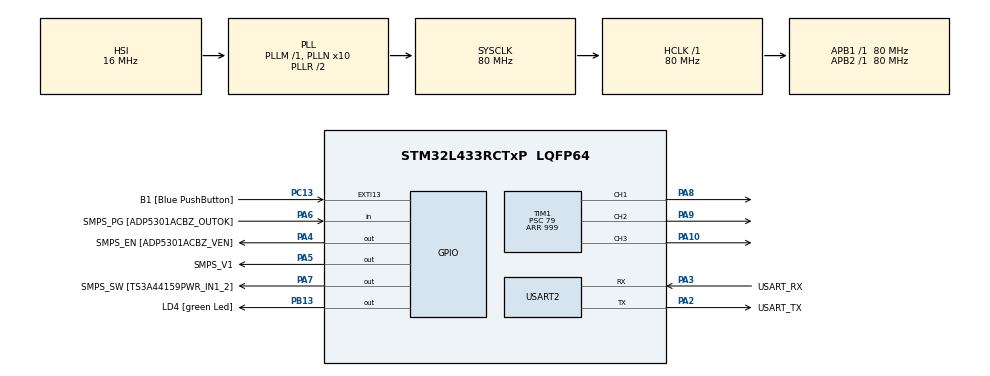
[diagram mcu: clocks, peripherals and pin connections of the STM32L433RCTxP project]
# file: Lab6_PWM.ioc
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Mcu.Family=STM32L4
Mcu.Name=STM32L433RCTxP
Mcu.Package=LQFP64
NVIC.PriorityGroup=NVIC_PRIORITYGROUP_4
NVIC.TIM1_UP_TIM16_IRQn=true\:0\:0\:false\:false\:true\:true\:true\:true
NVIC.TIM6_DAC_IRQn=true\:0\:0\:false\:false\:true\:true\:true\:true
PA10.Signal=S_TIM1_CH3
PA13\ (JTMS-SWDIO).GPIO_Label=TMS
PA13\ (JTMS-SWDIO).Mode=Serial_Wire
PA13\ (JTMS-SWDIO).Signal=SYS_JTMS-SWDIO
PA14\ (JTCK-SWCLK).GPIO_Label=TCK
PA14\ (JTCK-SWCLK).Mode=Serial_Wire
PA14\ (JTCK-SWCLK).Signal=SYS_JTCK-SWCLK
PA2.GPIO_Label=USART_TX
PA2.GPIO_Mode=GPIO_MODE_AF_PP
PA2.GPIO_PuPd=GPIO_NOPULL
PA2.GPIO_Speed=GPIO_SPEED_FREQ_VERY_HIGH
PA2.Mode=Asynchronous
PA2.Signal=USART2_TX
PA3.GPIO_Label=USART_RX
PA3.GPIO_Mode=GPIO_MODE_AF_PP
PA3.GPIO_PuPd=GPIO_NOPULL
PA3.GPIO_Speed=GPIO_SPEED_FREQ_VERY_HIGH
PA3.Mode=Asynchronous
PA3.Signal=USART2_RX
PA4.GPIO_Label=SMPS_EN [ADP5301ACBZ_VEN]
PA4.Signal=GPIO_Output
PA5.GPIO_Label=SMPS_V1
PA5.GPIO_ModeDefaultOutputPP=GPIO_MODE_OUTPUT_PP
PA5.GPIO_PuPd=GPIO_NOPULL
PA5.GPIO_Speed=GPIO_SPEED_FREQ_LOW
PA5.Signal=GPIO_Output
PA6.GPIO_Label=SMPS_PG [ADP5301ACBZ_OUTOK]
PA6.GPIO_PuPd=GPIO_PULLUP
PA6.Signal=GPIO_Input
PA7.GPIO_Label=SMPS_SW [TS3A44159PWR_IN1_2]
PA7.Signal=GPIO_Output
PA8.Signal=S_TIM1_CH1
PA9.Signal=S_TIM1_CH2
PB13.GPIO_Label=LD4 [green Led]
PB13.Signal=GPIO_Output
PB3\ (JTDO-TRACESWO).GPIO_Label=SWO
PB3\ (JTDO-TRACESWO).Signal=SYS_JTDO-SWO
PC13.GPIO_Label=B1 [Blue PushButton]
PC13.GPIO_ModeDefaultEXTI=GPIO_MODE_IT_FALLING
PC13.GPIO_PuPd=GPIO_NOPULL
PC13.Signal=GPXTI13
PC14-OSC32_IN\ (PC14).Mode=LSE-External-Oscillator
PC14-OSC32_IN\ (PC14).Signal=RCC_OSC32_IN
PC15-OSC32_OUT\ (PC15).Mode=LSE-External-Oscillator
PC15-OSC32_OUT\ (PC15).Signal=RCC_OSC32_OUT
PH0-OSC_IN\ (PH0).GPIO_Label=MCO
PH0-OSC_IN\ (PH0).Mode=HSE-External-Clock-Source
PH0-OSC_IN\ (PH0).Signal=RCC_OSC_IN
PH1-OSC_OUT\ (PH1).Signal=RCC_OSC_OUT
ProjectManager.HeapSize=0x200
ProjectManager.StackSize=0x400
ProjectManager.TargetToolchain=STM32CubeIDE
RCC.ADCFreq_Value=64000000
RCC.AHBFreq_Value=80000000
RCC.APB1Freq_Value=80000000
RCC.APB1TimFreq_Value=80000000
RCC.APB2Freq_Value=80000000
RCC.APB2TimFreq_Value=80000000
RCC.CortexFreq_Value=80000000
RCC.HCLKFreq_Value=80000000
RCC.HSE_VALUE=8000000
RCC.HSI48_VALUE=48000000
RCC.HSI_VALUE=16000000
RCC.MSI_VALUE=4000000
RCC.PLLN=10
RCC.PLLSourceVirtual=RCC_PLLSOURCE_HSI
RCC.PREFETCH_ENABLE=1
RCC.SYSCLKFreq_VALUE=80000000
RCC.SYSCLKSource=RCC_SYSCLKSOURCE_PLLCLK
RCC.USBFreq_Value=64000000
RCC.VCOOutputFreq_Value=160000000
SH.S_TIM1_CH1.0=TIM1_CH1,PWM Generation1 CH1
SH.S_TIM1_CH2.0=TIM1_CH2,PWM Generation2 CH2
SH.S_TIM1_CH3.0=TIM1_CH3,PWM Generation3 CH3
TIM1.Channel-PWM\ Generation1\ CH1=TIM_CHANNEL_1
TIM1.Channel-PWM\ Generation2\ CH2=TIM_CHANNEL_2
TIM1.Channel-PWM\ Generation3\ CH3=TIM_CHANNEL_3
TIM1.Period=999
TIM1.Prescaler=79
USART2.VirtualMode-Asynchronous=VM_ASYNC
VP_TIM1_VS_ClockSourceINT.Mode=Internal
VP_TIM6_VS_ClockSourceINT.Mode=Enable_Timer
board=NUCLEO-L433RC-P

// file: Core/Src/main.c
/* USER CODE BEGIN Header */
/**
  ******************************************************************************
  * @file           : main.c
  * @brief          : Main program body
  ******************************************************************************
  * @attention
  *
  * Copyright (c) 2025 STMicroelectronics.
  * All rights reserved.
  *
  * This software is licensed under terms that can be found in the LICENSE file
  * in the root directory of this software component.
  * If no LICENSE file comes with this software, it is provided AS-IS.
  *
  ******************************************************************************
  */
/* USER CODE END Header */
#include "main.h"

/* USER CODE BEGIN Includes */

#include <math.h>

/* USER CODE END Includes */

TIM_HandleTypeDef htim1;
TIM_HandleTypeDef htim6;

UART_HandleTypeDef huart2;

/* USER CODE BEGIN PV */

volatile uint32_t isr_count = 0;
float freq = 1000;
float rf = 100;
float gf = 1;
float bf = 0;

/* USER CODE END PV */

void SystemClock_Config(void);
static void MX_GPIO_Init(void);
static void MX_USART2_UART_Init(void);
static void MX_TIM1_Init(void);
static void MX_TIM6_Init(void);

/* USER CODE BEGIN 0 */

void HAL_TIM_PeriodElapsedCallback(TIM_HandleTypeDef *htim)
{
	if(htim->Instance == TIM1)
	{

		isr_count++;

	}
}

/* USER CODE END 0 */

int main(void)
{

  /* MCU Configuration--------------------------------------------------------*/

  /* Reset of all peripherals, Initializes the Flash interface and the Systick. */
  HAL_Init();

  /* Configure the system clock */
  SystemClock_Config();

  /* Initialize all configured peripherals */
  MX_GPIO_Init();
  MX_USART2_UART_Init();
  MX_TIM1_Init();
  MX_TIM6_Init();

  /* Infinite loop */
  /* USER CODE BEGIN WHILE */

  HAL_TIM_PWM_Start(&htim1, TIM_CHANNEL_1);
  HAL_TIM_PWM_Start(&htim1, TIM_CHANNEL_2);
  HAL_TIM_PWM_Start(&htim1, TIM_CHANNEL_3);
  HAL_TIM_Base_Start_IT(&htim1);

  while (1)
  {

	  if(isr_count == 1)
	  {
	  static float t = 0.0f;
	  const float offset = M_TWOPI / 3.0f;
	  const float half_arr = 500.0f;
	  rf = sinf((M_TWOPI * t * freq) + (0 * offset));
	  gf = sinf((M_TWOPI * t * freq) + (1 * offset));
	  bf = sinf((M_TWOPI * t * freq) + (2 * offset));
	  rf = (rf + 1.0) * half_arr;
	  gf = (gf + 1.0) * half_arr;
	  bf = (bf + 1.0) * half_arr;
	  t += 0.001; // should be (1 / f_TIM)

	 	  __HAL_TIM_SET_COMPARE(&htim1, TIM_CHANNEL_1, bf);
	 	  __HAL_TIM_SET_COMPARE(&htim1, TIM_CHANNEL_2, rf);
	 	  __HAL_TIM_SET_COMPARE(&htim1, TIM_CHANNEL_3, gf);
	  isr_count = 0;
	  }

    /* USER CODE END WHILE */

  }
}

void SystemClock_Config(void)
{
  RCC_OscInitTypeDef RCC_OscInitStruct = {0};
  RCC_ClkInitTypeDef RCC_ClkInitStruct = {0};

  /** Configure the main internal regulator output voltage
  */
  if (HAL_PWREx_ControlVoltageScaling(PWR_REGULATOR_VOLTAGE_SCALE1) != HAL_OK)
  {
    Error_Handler();
  }

  /** Initializes the RCC Oscillators according to the specified parameters
  * in the RCC_OscInitTypeDef structure.
  */
  RCC_OscInitStruct.OscillatorType = RCC_OSCILLATORTYPE_HSI;
  RCC_OscInitStruct.HSIState = RCC_HSI_ON;
  RCC_OscInitStruct.HSICalibrationValue = RCC_HSICALIBRATION_DEFAULT;
  RCC_OscInitStruct.PLL.PLLState = RCC_PLL_ON;
  RCC_OscInitStruct.PLL.PLLSource = RCC_PLLSOURCE_HSI;
  RCC_OscInitStruct.PLL.PLLM = 1;
  RCC_OscInitStruct.PLL.PLLN = 10;
  RCC_OscInitStruct.PLL.PLLP = RCC_PLLP_DIV7;
  RCC_OscInitStruct.PLL.PLLQ = RCC_PLLQ_DIV2;
  RCC_OscInitStruct.PLL.PLLR = RCC_PLLR_DIV2;
  if (HAL_RCC_OscConfig(&RCC_OscInitStruct) != HAL_OK)
  {
    Error_Handler();
  }

  /** Initializes the CPU, AHB and APB buses clocks
  */
  RCC_ClkInitStruct.ClockType = RCC_CLOCKTYPE_HCLK|RCC_CLOCKTYPE_SYSCLK
                              |RCC_CLOCKTYPE_PCLK1|RCC_CLOCKTYPE_PCLK2;
  RCC_ClkInitStruct.SYSCLKSource = RCC_SYSCLKSOURCE_PLLCLK;
  RCC_ClkInitStruct.AHBCLKDivider = RCC_SYSCLK_DIV1;
  RCC_ClkInitStruct.APB1CLKDivider = RCC_HCLK_DIV1;
  RCC_ClkInitStruct.APB2CLKDivider = RCC_HCLK_DIV1;

  if (HAL_RCC_ClockConfig(&RCC_ClkInitStruct, FLASH_LATENCY_4) != HAL_OK)
  {
    Error_Handler();
  }
}

static void MX_TIM1_Init(void)
{

  TIM_ClockConfigTypeDef sClockSourceConfig = {0};
  TIM_MasterConfigTypeDef sMasterConfig = {0};
  TIM_OC_InitTypeDef sConfigOC = {0};
  TIM_BreakDeadTimeConfigTypeDef sBreakDeadTimeConfig = {0};

  htim1.Instance = TIM1;
  htim1.Init.Prescaler = 79;
  htim1.Init.CounterMode = TIM_COUNTERMODE_UP;
  htim1.Init.Period = 999;
  htim1.Init.ClockDivision = TIM_CLOCKDIVISION_DIV1;
  htim1.Init.RepetitionCounter = 0;
  htim1.Init.AutoReloadPreload = TIM_AUTORELOAD_PRELOAD_DISABLE;
  if (HAL_TIM_Base_Init(&htim1) != HAL_OK)
  {
    Error_Handler();
  }
  sClockSourceConfig.ClockSource = TIM_CLOCKSOURCE_INTERNAL;
  if (HAL_TIM_ConfigClockSource(&htim1, &sClockSourceConfig) != HAL_OK)
  {
    Error_Handler();
  }
  if (HAL_TIM_PWM_Init(&htim1) != HAL_OK)
  {
    Error_Handler();
  }
  sMasterConfig.MasterOutputTrigger = TIM_TRGO_RESET;
  sMasterConfig.MasterOutputTrigger2 = TIM_TRGO2_RESET;
  sMasterConfig.MasterSlaveMode = TIM_MASTERSLAVEMODE_DISABLE;
  if (HAL_TIMEx_MasterConfigSynchronization(&htim1, &sMasterConfig) != HAL_OK)
  {
    Error_Handler();
  }
  sConfigOC.OCMode = TIM_OCMODE_PWM1;
  sConfigOC.Pulse = 0;
  sConfigOC.OCPolarity = TIM_OCPOLARITY_HIGH;
  sConfigOC.OCNPolarity = TIM_OCNPOLARITY_HIGH;
  sConfigOC.OCFastMode = TIM_OCFAST_DISABLE;
  sConfigOC.OCIdleState = TIM_OCIDLESTATE_RESET;
  sConfigOC.OCNIdleState = TIM_OCNIDLESTATE_RESET;
  if (HAL_TIM_PWM_ConfigChannel(&htim1, &sConfigOC, TIM_CHANNEL_1) != HAL_OK)
  {
    Error_Handler();
  }
  if (HAL_TIM_PWM_ConfigChannel(&htim1, &sConfigOC, TIM_CHANNEL_2) != HAL_OK)
  {
    Error_Handler();
  }
  if (HAL_TIM_PWM_ConfigChannel(&htim1, &sConfigOC, TIM_CHANNEL_3) != HAL_OK)
  {
    Error_Handler();
  }
  sBreakDeadTimeConfig.OffStateRunMode = TIM_OSSR_DISABLE;
  sBreakDeadTimeConfig.OffStateIDLEMode = TIM_OSSI_DISABLE;
  sBreakDeadTimeConfig.LockLevel = TIM_LOCKLEVEL_OFF;
  sBreakDeadTimeConfig.DeadTime = 0;
  sBreakDeadTimeConfig.BreakState = TIM_BREAK_DISABLE;
  sBreakDeadTimeConfig.BreakPolarity = TIM_BREAKPOLARITY_HIGH;
  sBreakDeadTimeConfig.BreakFilter = 0;
  sBreakDeadTimeConfig.Break2State = TIM_BREAK2_DISABLE;
  sBreakDeadTimeConfig.Break2Polarity = TIM_BREAK2POLARITY_HIGH;
  sBreakDeadTimeConfig.Break2Filter = 0;
  sBreakDeadTimeConfig.AutomaticOutput = TIM_AUTOMATICOUTPUT_DISABLE;
  if (HAL_TIMEx_ConfigBreakDeadTime(&htim1, &sBreakDeadTimeConfig) != HAL_OK)
  {
    Error_Handler();
  }
  HAL_TIM_MspPostInit(&htim1);

}

static void MX_TIM6_Init(void)
{

  TIM_MasterConfigTypeDef sMasterConfig = {0};

  htim6.Instance = TIM6;
  htim6.Init.Prescaler = 0;
  htim6.Init.CounterMode = TIM_COUNTERMODE_UP;
  htim6.Init.Period = 65535;
  htim6.Init.AutoReloadPreload = TIM_AUTORELOAD_PRELOAD_DISABLE;
  if (HAL_TIM_Base_Init(&htim6) != HAL_OK)
  {
    Error_Handler();
  }
  sMasterConfig.MasterOutputTrigger = TIM_TRGO_RESET;
  sMasterConfig.MasterSlaveMode = TIM_MASTERSLAVEMODE_DISABLE;
  if (HAL_TIMEx_MasterConfigSynchronization(&htim6, &sMasterConfig) != HAL_OK)
  {
    Error_Handler();
  }

}

static void MX_USART2_UART_Init(void)
{

  huart2.Instance = USART2;
  huart2.Init.BaudRate = 115200;
  huart2.Init.WordLength = UART_WORDLENGTH_8B;
  huart2.Init.StopBits = UART_STOPBITS_1;
  huart2.Init.Parity = UART_PARITY_NONE;
  huart2.Init.Mode = UART_MODE_TX_RX;
  huart2.Init.HwFlowCtl = UART_HWCONTROL_NONE;
  huart2.Init.OverSampling = UART_OVERSAMPLING_16;
  huart2.Init.OneBitSampling = UART_ONE_BIT_SAMPLE_DISABLE;
  huart2.AdvancedInit.AdvFeatureInit = UART_ADVFEATURE_NO_INIT;
  if (HAL_UART_Init(&huart2) != HAL_OK)
  {
    Error_Handler();
  }

}

static void MX_GPIO_Init(void)
{
  GPIO_InitTypeDef GPIO_InitStruct = {0};

  /* GPIO Ports Clock Enable */
  __HAL_RCC_GPIOC_CLK_ENABLE();
  __HAL_RCC_GPIOH_CLK_ENABLE();
  __HAL_RCC_GPIOA_CLK_ENABLE();
  __HAL_RCC_GPIOB_CLK_ENABLE();

  /*Configure GPIO pin Output Level */
  HAL_GPIO_WritePin(GPIOA, SMPS_EN_Pin|SMPS_V1_Pin|SMPS_SW_Pin, GPIO_PIN_RESET);

  /*Configure GPIO pin Output Level */
  HAL_GPIO_WritePin(LD4_GPIO_Port, LD4_Pin, GPIO_PIN_RESET);

  /*Configure GPIO pin : B1_Pin */
  GPIO_InitStruct.Pin = B1_Pin;
  GPIO_InitStruct.Mode = GPIO_MODE_IT_FALLING;
  GPIO_InitStruct.Pull = GPIO_NOPULL;
  HAL_GPIO_Init(B1_GPIO_Port, &GPIO_InitStruct);

  /*Configure GPIO pins : SMPS_EN_Pin SMPS_V1_Pin SMPS_SW_Pin */
  GPIO_InitStruct.Pin = SMPS_EN_Pin|SMPS_V1_Pin|SMPS_SW_Pin;
  GPIO_InitStruct.Mode = GPIO_MODE_OUTPUT_PP;
  GPIO_InitStruct.Pull = GPIO_NOPULL;
  GPIO_InitStruct.Speed = GPIO_SPEED_FREQ_LOW;
  HAL_GPIO_Init(GPIOA, &GPIO_InitStruct);

  /*Configure GPIO pin : SMPS_PG_Pin */
  GPIO_InitStruct.Pin = SMPS_PG_Pin;
  GPIO_InitStruct.Mode = GPIO_MODE_INPUT;
  GPIO_InitStruct.Pull = GPIO_PULLUP;
  HAL_GPIO_Init(SMPS_PG_GPIO_Port, &GPIO_InitStruct);

  /*Configure GPIO pin : LD4_Pin */
  GPIO_InitStruct.Pin = LD4_Pin;
  GPIO_InitStruct.Mode = GPIO_MODE_OUTPUT_PP;
  GPIO_InitStruct.Pull = GPIO_NOPULL;
  GPIO_InitStruct.Speed = GPIO_SPEED_FREQ_LOW;
  HAL_GPIO_Init(LD4_GPIO_Port, &GPIO_InitStruct);

}

void Error_Handler(void)
{
  __disable_irq();
  while (1)
  {
  }
}
